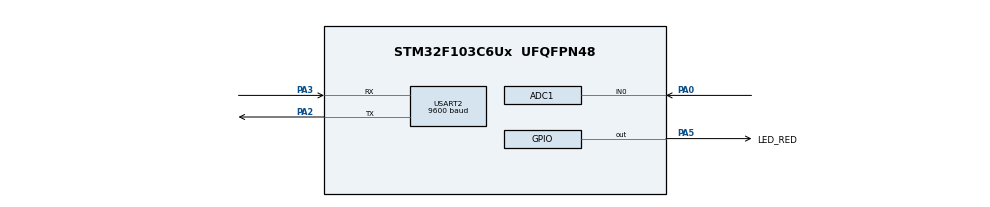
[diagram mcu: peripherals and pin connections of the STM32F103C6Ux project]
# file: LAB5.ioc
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ADC1.Channel-0\#ChannelRegularConversion=ADC_CHANNEL_0
ADC1.NbrOfConversionFlag=1
ADC1.Rank-0\#ChannelRegularConversion=1
ADC1.SamplingTime-0\#ChannelRegularConversion=ADC_SAMPLETIME_1CYCLE_5
ADC1.master=1
Mcu.Family=STM32F1
Mcu.Name=STM32F103C6Ux
Mcu.Package=UFQFPN48
NVIC.PriorityGroup=NVIC_PRIORITYGROUP_4
NVIC.USART2_IRQn=true\:0\:0\:false\:false\:true\:true\:true
PA0-WKUP.Signal=ADCx_IN0
PA2.Mode=Asynchronous
PA2.Signal=USART2_TX
PA3.Mode=Asynchronous
PA3.Signal=USART2_RX
PA5.GPIO_Label=LED_RED
PA5.Signal=GPIO_Output
ProjectManager.HeapSize=0x200
ProjectManager.StackSize=0x400
ProjectManager.TargetToolchain=STM32CubeIDE
RCC.APB1Freq_Value=8000000
RCC.APB2Freq_Value=8000000
SH.ADCx_IN0.0=ADC1_IN0,IN0
USART2.BaudRate=9600
USART2.VirtualMode=VM_ASYNC
VP_SYS_VS_ND.Mode=No_Debug
board=custom

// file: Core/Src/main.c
/* USER CODE BEGIN Header */
/**
  ******************************************************************************
  * @file           : main.c
  * @brief          : Main program body
  ******************************************************************************
  * @attention
  *
  * <h2><center>&copy; Copyright (c) 2025 STMicroelectronics.
  * All rights reserved.</center></h2>
  *
  * This software component is licensed by ST under BSD 3-Clause license,
  * the "License"; You may not use this file except in compliance with the
  * License. You may obtain a copy of the License at:
  *                        opensource.org/licenses/BSD-3-Clause
  *
  ******************************************************************************
  */
/* USER CODE END Header */
#include "main.h"
#include <string.h>
#include <stdio.h>
#include <stdint.h>

ADC_HandleTypeDef hadc1;

UART_HandleTypeDef huart2;

void SystemClock_Config(void);
static void MX_GPIO_Init(void);
static void MX_ADC1_Init(void);
static void MX_USART2_UART_Init(void);

/* USER CODE BEGIN 0 */
#define MAX_BUFFER_SIZE 30
uint8_t temp = 0;
uint8_t buffer[MAX_BUFFER_SIZE];
uint8_t index_buffer = 0;
uint8_t buffer_flag = 0;
void HAL_UART_RxCpltCallback(UART_HandleTypeDef *huart){
	if(huart->Instance == USART2){
		buffer[index_buffer++] = temp;
		if(index_buffer == 30) index_buffer = 0;
		HAL_UART_Transmit(&huart2, &temp, 1, 50);
		buffer_flag = 1;
		HAL_UART_Receive_IT(&huart2, &temp, 1);
	}
}
uint8_t read_pos = 0;
uint8_t command_flag = 0; //0 = none, 1 = RST, 2 = OK
uint32_t uc_last_send_time = 0;
const uint32_t UC_TIMEOUT_MS = 3000;
char uc_tx_packet[32];
uint16_t uc_last_adc_value = 0;
uint8_t uc_state = 0; // 0 IDLE, 1 SEND_ADC, 2 WAIT_ACK, 3 RESEND
void command_parser_fsm(void){
	  static char token[32];
	  static uint8_t in_token = 0; // 0: not in token, 1: inside ! ... #
	  static uint8_t tpos = 0;

	  if(buffer_flag == 0) return;

	  while(read_pos != index_buffer){
	    uint8_t c = buffer[read_pos++];
	    if(read_pos == MAX_BUFFER_SIZE) read_pos = 0;
	    if(!in_token){
	      if(c == '!'){
	        in_token = 1;
	        tpos = 0;
	      }
	    } else {
	      if(c == '#'){
	        token[tpos] = '\0';
	        if(strcmp(token, "RST") == 0){
	          command_flag = 1; // RST
	        } else if(strcmp(token, "OK") == 0){
	          command_flag = 2; // OK
	        }
	        in_token = 0;
	        tpos = 0;
	      } else {
	        if(tpos < (sizeof(token)-1)){
	          token[tpos++] = (char)c;
	        } else {
	          // token overflow
	        }
	      }
	    }
	  }
	  buffer_flag = 0;
}
//void uart_communiation_fsm(void)
//{
//  uint32_t now = HAL_GetTick();
//
//  switch(uc_state){
//    case 0: // UC_IDLE
//      if(command_flag == 1){
//        command_flag = 0;
//        uc_last_adc_value = 0;
//        HAL_ADC_Start(&hadc1);
//        if(HAL_ADC_PollForConversion(&hadc1, 10) == HAL_OK){
//          uc_last_adc_value = (uint16_t)HAL_ADC_GetValue(&hadc1);
//        }
//        HAL_ADC_Stop(&hadc1);
//        snprintf(uc_tx_packet, sizeof(uc_tx_packet), "!ADC=%u#\r\n", (unsigned)uc_last_adc_value);
//        uc_state = 1;
//      }
//      break;
//
//    case 1: // UC_SEND_ADC
//      HAL_UART_Transmit(&huart2, (uint8_t*)uc_tx_packet, (uint16_t)strlen(uc_tx_packet), 200);
//      uc_last_send_time = HAL_GetTick();
//      uc_state = 2;
//      break;
//
//    case 2: // UC_WAIT_ACK
//      if(command_flag == 2){ // OK
//        command_flag = 0;
//        uc_state = 0;
//      } else {
//        if((now - uc_last_send_time) >= UC_TIMEOUT_MS){
//          uc_state = 3; // RESEND
//        }
//      }
//      break;
//
//    case 3: // UC_RESEND
//      HAL_UART_Transmit(&huart2, (uint8_t*)uc_tx_packet, (uint16_t)strlen(uc_tx_packet), 200);
//      uc_last_send_time = HAL_GetTick();
//      uc_state = 2;
//      break;
//
//    default:
//      uc_state = 0; break;
//  }
//}
void uart_communiation_fsm(void)
{
  uint32_t now = HAL_GetTick();

  switch(uc_state){
    case 0: // UC_IDLE
      if(command_flag == 1){   //RST
        command_flag = 0;
        HAL_ADC_Start(&hadc1);
        if(HAL_ADC_PollForConversion(&hadc1, 10) == HAL_OK){
          uc_last_adc_value = (uint16_t)HAL_ADC_GetValue(&hadc1);
        }
        HAL_ADC_Stop(&hadc1);
        snprintf(uc_tx_packet, sizeof(uc_tx_packet), "!ADC=%u#\r\n", (unsigned)uc_last_adc_value);
        uc_state = 1;
      }
      break;

    case 1: // UC_SEND_ADC
      HAL_UART_Transmit(&huart2, (uint8_t*)uc_tx_packet, (uint16_t)strlen(uc_tx_packet), 200);
      uc_last_send_time = HAL_GetTick();
      uc_state = 2;
      break;

    case 2: // UC_WAIT_ACK
      if(command_flag == 2){ //OK
        command_flag = 0;
        uc_state = 0; //IDLE
      } else {
        if((now - uc_last_send_time) >= UC_TIMEOUT_MS){
          HAL_ADC_Start(&hadc1);
          if(HAL_ADC_PollForConversion(&hadc1, 10) == HAL_OK){
            uc_last_adc_value = (uint16_t)HAL_ADC_GetValue(&hadc1);
          }
          HAL_ADC_Stop(&hadc1);
          snprintf(uc_tx_packet, sizeof(uc_tx_packet), "!ADC=%u#\r\n", (unsigned)uc_last_adc_value);
          uc_state = 3;
        }
      }
      break;

    case 3: // UC_RESEND
      HAL_UART_Transmit(&huart2, (uint8_t*)uc_tx_packet, (uint16_t)strlen(uc_tx_packet), 200);
      uc_last_send_time = HAL_GetTick();
      uc_state = 2;
      break;

    default:
      uc_state = 0;
      break;
  }
}

/* USER CODE END 0 */
int main(void)
{

  /* MCU Configuration--------------------------------------------------------*/

  /* Reset of all peripherals, Initializes the Flash interface and the Systick. */
  HAL_Init();

  /* Configure the system clock */
  SystemClock_Config();

  /* Initialize all configured peripherals */
  MX_GPIO_Init();
  MX_ADC1_Init();
  MX_USART2_UART_Init();
  /* Infinite loop */
  /* USER CODE BEGIN WHILE */
  HAL_UART_Receive_IT(&huart2, &temp, 1);
//  HAL_ADC_Start(&hadc1);
  while (1)
  {
    /* USER CODE END WHILE */
	  HAL_GPIO_TogglePin(LED_RED_GPIO_Port, LED_RED_Pin);
	  if(buffer_flag == 1){
	  command_parser_fsm();
	  buffer_flag = 0;
	  }
	  uart_communiation_fsm();
	  HAL_Delay(500);
  }
}

void SystemClock_Config(void)
{
  RCC_OscInitTypeDef RCC_OscInitStruct = {0};
  RCC_ClkInitTypeDef RCC_ClkInitStruct = {0};
  RCC_PeriphCLKInitTypeDef PeriphClkInit = {0};

  /** Initializes the RCC Oscillators according to the specified parameters
  * in the RCC_OscInitTypeDef structure.
  */
  RCC_OscInitStruct.OscillatorType = RCC_OSCILLATORTYPE_HSI;
  RCC_OscInitStruct.HSIState = RCC_HSI_ON;
  RCC_OscInitStruct.HSICalibrationValue = RCC_HSICALIBRATION_DEFAULT;
  RCC_OscInitStruct.PLL.PLLState = RCC_PLL_NONE;
  if (HAL_RCC_OscConfig(&RCC_OscInitStruct) != HAL_OK)
  {
    Error_Handler();
  }
  /** Initializes the CPU, AHB and APB buses clocks
  */
  RCC_ClkInitStruct.ClockType = RCC_CLOCKTYPE_HCLK|RCC_CLOCKTYPE_SYSCLK
                              |RCC_CLOCKTYPE_PCLK1|RCC_CLOCKTYPE_PCLK2;
  RCC_ClkInitStruct.SYSCLKSource = RCC_SYSCLKSOURCE_HSI;
  RCC_ClkInitStruct.AHBCLKDivider = RCC_SYSCLK_DIV1;
  RCC_ClkInitStruct.APB1CLKDivider = RCC_HCLK_DIV1;
  RCC_ClkInitStruct.APB2CLKDivider = RCC_HCLK_DIV1;

  if (HAL_RCC_ClockConfig(&RCC_ClkInitStruct, FLASH_LATENCY_0) != HAL_OK)
  {
    Error_Handler();
  }
  PeriphClkInit.PeriphClockSelection = RCC_PERIPHCLK_ADC;
  PeriphClkInit.AdcClockSelection = RCC_ADCPCLK2_DIV2;
  if (HAL_RCCEx_PeriphCLKConfig(&PeriphClkInit) != HAL_OK)
  {
    Error_Handler();
  }
}

static void MX_ADC1_Init(void)
{

  ADC_ChannelConfTypeDef sConfig = {0};

  /** Common config
  */
  hadc1.Instance = ADC1;
  hadc1.Init.ScanConvMode = ADC_SCAN_DISABLE;
  hadc1.Init.ContinuousConvMode = DISABLE;
  hadc1.Init.DiscontinuousConvMode = DISABLE;
  hadc1.Init.ExternalTrigConv = ADC_SOFTWARE_START;
  hadc1.Init.DataAlign = ADC_DATAALIGN_RIGHT;
  hadc1.Init.NbrOfConversion = 1;
  if (HAL_ADC_Init(&hadc1) != HAL_OK)
  {
    Error_Handler();
  }
  /** Configure Regular Channel
  */
  sConfig.Channel = ADC_CHANNEL_0;
  sConfig.Rank = ADC_REGULAR_RANK_1;
  sConfig.SamplingTime = ADC_SAMPLETIME_1CYCLE_5;
  if (HAL_ADC_ConfigChannel(&hadc1, &sConfig) != HAL_OK)
  {
    Error_Handler();
  }

}

static void MX_USART2_UART_Init(void)
{

  huart2.Instance = USART2;
  huart2.Init.BaudRate = 9600;
  huart2.Init.WordLength = UART_WORDLENGTH_8B;
  huart2.Init.StopBits = UART_STOPBITS_1;
  huart2.Init.Parity = UART_PARITY_NONE;
  huart2.Init.Mode = UART_MODE_TX_RX;
  huart2.Init.HwFlowCtl = UART_HWCONTROL_NONE;
  huart2.Init.OverSampling = UART_OVERSAMPLING_16;
  if (HAL_UART_Init(&huart2) != HAL_OK)
  {
    Error_Handler();
  }

}

static void MX_GPIO_Init(void)
{
  GPIO_InitTypeDef GPIO_InitStruct = {0};

  /* GPIO Ports Clock Enable */
  __HAL_RCC_GPIOA_CLK_ENABLE();

  /*Configure GPIO pin Output Level */
  HAL_GPIO_WritePin(LED_RED_GPIO_Port, LED_RED_Pin, GPIO_PIN_RESET);

  /*Configure GPIO pin : LED_RED_Pin */
  GPIO_InitStruct.Pin = LED_RED_Pin;
  GPIO_InitStruct.Mode = GPIO_MODE_OUTPUT_PP;
  GPIO_InitStruct.Pull = GPIO_NOPULL;
  GPIO_InitStruct.Speed = GPIO_SPEED_FREQ_LOW;
  HAL_GPIO_Init(LED_RED_GPIO_Port, &GPIO_InitStruct);

}

void Error_Handler(void)
{
  __disable_irq();
  while (1)
  {
  }
}

/************************ (C) COPYRIGHT STMicroelectronics *****END OF FILE****/
